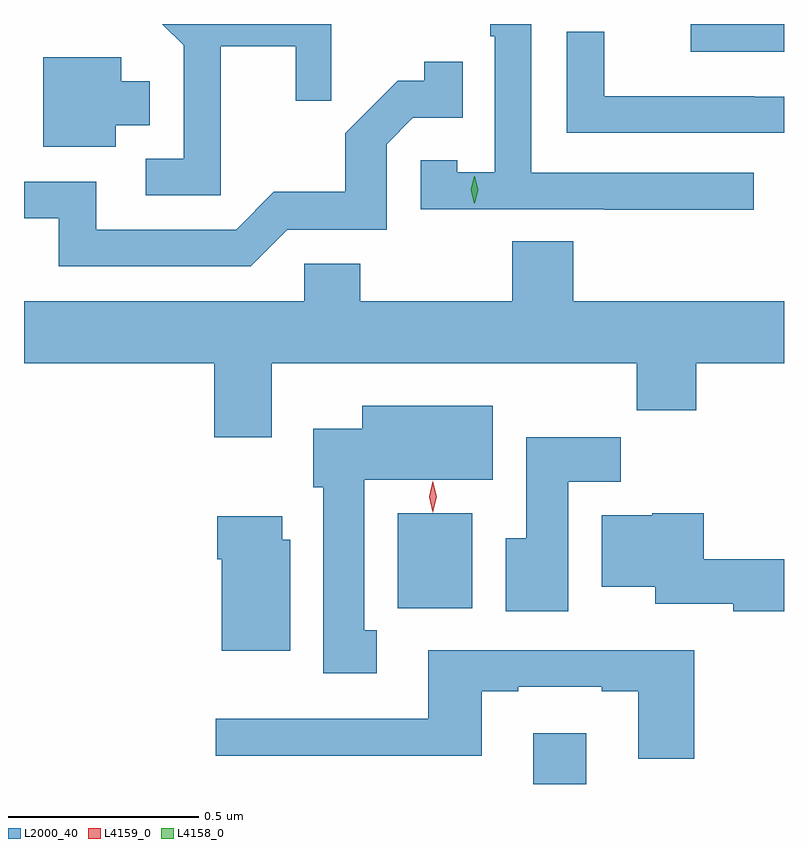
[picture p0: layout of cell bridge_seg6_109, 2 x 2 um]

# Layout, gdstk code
import gdstk
lib = gdstk.Library(unit=1e-6, precision=1e-09)
def R(c, l, rs):  # rectangles x0, y0, x1, y1
    for r in rs: c.add(gdstk.rectangle(r[:2], r[2:], *l))
def P(c, l, *ps):  # polygons
    for p in ps: c.add(gdstk.Polygon(p, *l))
L2000_40 = (2000, 40)
L4158_0 = (4158, 0)
L4159_0 = (4159, 0)

bridge_seg6_109 = lib.new_cell('bridge_seg6_109')
R(bridge_seg6_109, L2000_40, [(466.973,959.549,467.113,959.683), (466.617,960.012,466.813,960.262), (467.387,961.476,467.633,961.549)])
P(bridge_seg6_109, L2000_40, [(466.151,961.49),(466.348,961.49),(466.348,961.347),(466.442,961.347),(466.442,961.549),(465.997,961.549),(466.053,961.493),(466.053,961.194),(465.954,961.194),(465.954,961.098),(466.151,961.098)],
  [(467.554,961.158),(466.968,961.158),(466.968,961.549),(466.86,961.549),(466.86,961.517),(466.872,961.517),(466.872,961.159),(466.773,961.159),(466.773,961.191),(466.677,961.191),(466.677,961.062),(467.161,961.062),(467.161,961.06),(467.554,961.06)],
  [(467.633,961.358),(467.555,961.358),(467.555,961.359),(467.16,961.359),(467.16,961.529),(467.061,961.529),(467.061,961.263),(467.633,961.263)],
  [(465.874,961.283),(465.964,961.283),(465.964,961.399),(465.889,961.399),(465.889,961.462),(465.683,961.462),(465.683,961.226),(465.874,961.226)],
  [(466.326,961.008),(466.587,961.008),(466.587,961.233),(466.656,961.302),(466.787,961.302),(466.787,961.45),(466.686,961.45),(466.686,961.4),(466.616,961.4),(466.479,961.262),(466.479,961.107),(466.29,961.107),(466.191,961.008),(465.823,961.008),(465.823,961.134),(465.633,961.134),(465.633,961.038),(465.725,961.038),(465.725,960.912),(466.23,960.912)],
  [(466.285,960.656),(467.245,960.656),(467.245,960.532),(467.402,960.532),(467.402,960.656),(467.633,960.656),(467.633,960.82),(467.078,960.82),(467.078,960.977),(466.918,960.977),(466.918,960.82),(466.518,960.82),(466.518,960.918),(466.371,960.918),(466.371,960.82),(465.633,960.82),(465.633,960.656),(466.133,960.656),(466.133,960.462),(466.285,960.462)],
  [(466.561,959.953),(466.528,959.953),(466.528,960.35),(466.867,960.35),(466.867,960.544),(466.523,960.544),(466.523,960.484),(466.394,960.484),(466.394,960.33),(466.421,960.33),(466.421,959.841),(466.561,959.841)],
  [(467.065,960.344),(467.204,960.344),(467.204,960.462),(466.955,960.462),(466.955,960.196),(466.901,960.196),(466.901,960.003),(467.065,960.003)],
  [(467.633,960.14),(467.422,960.14),(467.422,960.262),(467.286,960.262),(467.286,960.256),(467.153,960.256),(467.153,960.068),(467.294,960.068),(467.294,960.024),(467.5,960.024),(467.5,960.004),(467.633,960.004)],
  [(466.333,960.192),(466.312,960.192),(466.312,960.253),(466.142,960.253),(466.142,960.14),(466.154,960.14),(466.154,959.9),(466.333,959.9)],
  [(467.397,959.901),(466.697,959.901),(466.697,959.721),(466.137,959.721),(466.137,959.624),(466.837,959.624),(466.837,959.793),(466.933,959.793),(466.933,959.805),(467.153,959.805),(467.153,959.793),(467.249,959.793),(467.249,959.616),(467.397,959.616)])
P(bridge_seg6_109, L4158_0, [(466.818,961.077),(466.809,961.113),(466.818,961.149),(466.819,961.149),(466.819,961.149),(466.829,961.113),(466.819,961.077),(466.819,961.077)])
P(bridge_seg6_109, L4159_0, [(466.709,960.264),(466.709,960.264),(466.699,960.305),(466.709,960.346),(466.709,960.346),(466.709,960.346),(466.719,960.305),(466.709,960.264)])

lib.write_gds('bridge_seg6_109.gds')
